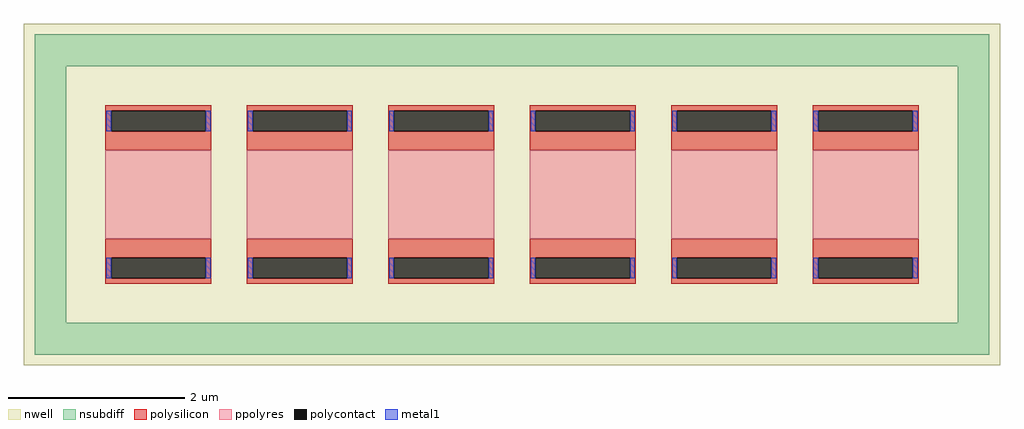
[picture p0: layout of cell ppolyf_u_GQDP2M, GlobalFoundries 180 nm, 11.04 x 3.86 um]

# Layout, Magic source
magic
tech gf180mcuC
magscale 1 10
<< nwell >>
rect -1104 -386 1104 386
<< nsubdiff >>
rect -1080 290 1080 362
rect -1080 -290 -1008 290
rect 1008 -290 1080 290
rect -1080 -362 1080 -290
<< polysilicon >>
rect -920 189 -680 202
rect -920 143 -907 189
rect -693 143 -680 189
rect -920 100 -680 143
rect -920 -143 -680 -100
rect -920 -189 -907 -143
rect -693 -189 -680 -143
rect -920 -202 -680 -189
rect -600 189 -360 202
rect -600 143 -587 189
rect -373 143 -360 189
rect -600 100 -360 143
rect -600 -143 -360 -100
rect -600 -189 -587 -143
rect -373 -189 -360 -143
rect -600 -202 -360 -189
rect -280 189 -40 202
rect -280 143 -267 189
rect -53 143 -40 189
rect -280 100 -40 143
rect -280 -143 -40 -100
rect -280 -189 -267 -143
rect -53 -189 -40 -143
rect -280 -202 -40 -189
rect 40 189 280 202
rect 40 143 53 189
rect 267 143 280 189
rect 40 100 280 143
rect 40 -143 280 -100
rect 40 -189 53 -143
rect 267 -189 280 -143
rect 40 -202 280 -189
rect 360 189 600 202
rect 360 143 373 189
rect 587 143 600 189
rect 360 100 600 143
rect 360 -143 600 -100
rect 360 -189 373 -143
rect 587 -189 600 -143
rect 360 -202 600 -189
rect 680 189 920 202
rect 680 143 693 189
rect 907 143 920 189
rect 680 100 920 143
rect 680 -143 920 -100
rect 680 -189 693 -143
rect 907 -189 920 -143
rect 680 -202 920 -189
<< polycontact >>
rect -907 143 -693 189
rect -907 -189 -693 -143
rect -587 143 -373 189
rect -587 -189 -373 -143
rect -267 143 -53 189
rect -267 -189 -53 -143
rect 53 143 267 189
rect 53 -189 267 -143
rect 373 143 587 189
rect 373 -189 587 -143
rect 693 143 907 189
rect 693 -189 907 -143
<< ppolyres >>
rect -920 -100 -680 100
rect -600 -100 -360 100
rect -280 -100 -40 100
rect 40 -100 280 100
rect 360 -100 600 100
rect 680 -100 920 100
<< metal1 >>
rect -918 143 -907 189
rect -693 143 -682 189
rect -598 143 -587 189
rect -373 143 -362 189
rect -278 143 -267 189
rect -53 143 -42 189
rect 42 143 53 189
rect 267 143 278 189
rect 362 143 373 189
rect 587 143 598 189
rect 682 143 693 189
rect 907 143 918 189
rect -918 -189 -907 -143
rect -693 -189 -682 -143
rect -598 -189 -587 -143
rect -373 -189 -362 -143
rect -278 -189 -267 -143
rect -53 -189 -42 -143
rect 42 -189 53 -143
rect 267 -189 278 -143
rect 362 -189 373 -143
rect 587 -189 598 -143
rect 682 -189 693 -143
rect 907 -189 918 -143
<< properties >>
string FIXED_BBOX -1044 -326 1044 326
string gencell ppolyf_u
string library gf180mcu
string parameters w 1.2 l 1.0 m 1 nx 6 wmin 0.80 lmin 1.00 rho 315 val 278.761 dummy 0 dw 0.07 term 0.0 sterm 0.0 caplen 0.4 snake 0 glc 0 grc 0 gtc 0 gbc 0 roverlap 0 endcov 100 full_metal 0
<< end >>
